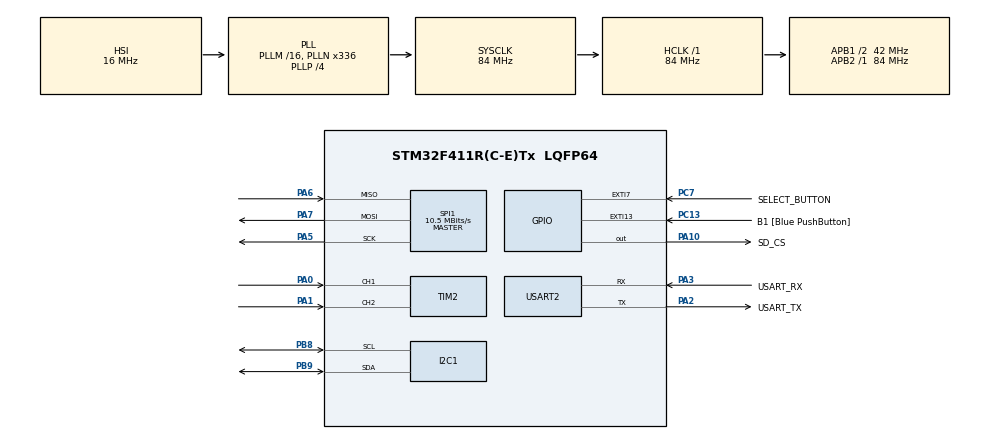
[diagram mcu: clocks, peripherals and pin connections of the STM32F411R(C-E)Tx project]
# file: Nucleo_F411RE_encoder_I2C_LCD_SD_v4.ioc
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Mcu.Family=STM32F4
Mcu.Name=STM32F411R(C-E)Tx
Mcu.Package=LQFP64
NVIC.EXTI9_5_IRQn=true\:0\:0\:false\:false\:true\:true\:true
NVIC.PriorityGroup=NVIC_PRIORITYGROUP_0
NVIC.TIM1_UP_TIM10_IRQn=true\:0\:0\:false\:false\:true\:true\:true
PA0-WKUP.Signal=S_TIM2_CH1_ETR
PA1.Signal=S_TIM2_CH2
PA10.GPIO_Label=SD_CS
PA10.Signal=GPIO_Output
PA13.GPIO_Label=TMS
PA13.Mode=Serial_Wire
PA13.Signal=SYS_JTMS-SWDIO
PA14.GPIO_Label=TCK
PA14.Mode=Serial_Wire
PA14.Signal=SYS_JTCK-SWCLK
PA2.GPIO_Label=USART_TX
PA2.Mode=Asynchronous
PA2.Signal=USART2_TX
PA3.GPIO_Label=USART_RX
PA3.Mode=Asynchronous
PA3.Signal=USART2_RX
PA5.Mode=Full_Duplex_Master
PA5.Signal=SPI1_SCK
PA6.Mode=Full_Duplex_Master
PA6.Signal=SPI1_MISO
PA7.Mode=Full_Duplex_Master
PA7.Signal=SPI1_MOSI
PB3.Signal=SYS_JTDO-SWO
PB8.Mode=I2C
PB8.Signal=I2C1_SCL
PB9.Mode=I2C
PB9.Signal=I2C1_SDA
PC13-ANTI_TAMP.GPIO_Label=B1 [Blue PushButton]
PC13-ANTI_TAMP.GPIO_ModeDefaultEXTI=GPIO_MODE_IT_FALLING
PC13-ANTI_TAMP.Signal=GPXTI13
PC14-OSC32_IN.Mode=LSE-External-Oscillator
PC14-OSC32_IN.Signal=RCC_OSC32_IN
PC15-OSC32_OUT.Mode=LSE-External-Oscillator
PC15-OSC32_OUT.Signal=RCC_OSC32_OUT
PC7.GPIO_Label=SELECT_BUTTON
PC7.Signal=GPXTI7
PH0\ -\ OSC_IN.Mode=HSE-External-Clock-Source
PH0\ -\ OSC_IN.Signal=RCC_OSC_IN
PH1\ -\ OSC_OUT.Mode=HSE-External-Clock-Source
PH1\ -\ OSC_OUT.Signal=RCC_OSC_OUT
ProjectManager.HeapSize=0x200
ProjectManager.StackSize=0x400
ProjectManager.TargetToolchain=STM32CubeIDE
RCC.48MHZClocksFreq_Value=84000000
RCC.AHBFreq_Value=84000000
RCC.APB1CLKDivider=RCC_HCLK_DIV2
RCC.APB1Freq_Value=42000000
RCC.APB1TimFreq_Value=84000000
RCC.APB2Freq_Value=84000000
RCC.APB2TimFreq_Value=84000000
RCC.CortexFreq_Value=84000000
RCC.FLatency-AdvancedSettings=FLASH_LATENCY_2
RCC.HCLKFreq_Value=84000000
RCC.HSE_VALUE=8000000
RCC.HSI_VALUE=16000000
RCC.PLLN=336
RCC.PLLP=RCC_PLLP_DIV4
RCC.SYSCLKFreq_VALUE=84000000
RCC.SYSCLKSource=RCC_SYSCLKSOURCE_PLLCLK
RCC.VCOOutputFreq_Value=336000000
SH.S_TIM2_CH1_ETR.0=TIM2_CH1,Encoder_Interface
SH.S_TIM2_CH2.0=TIM2_CH2,Encoder_Interface
SPI1.BaudRatePrescaler=SPI_BAUDRATEPRESCALER_8
SPI1.CalculateBaudRate=10.5 MBits/s
SPI1.Direction=SPI_DIRECTION_2LINES
SPI1.Mode=SPI_MODE_MASTER
SPI1.VirtualType=VM_MASTER
TIM1.Period=62499
TIM1.Prescaler=63
USART2.VirtualMode=VM_ASYNC
VP_FATFS_VS_Generic.Mode=User_defined
VP_TIM1_VS_ClockSourceINT.Mode=Internal
board=NUCLEO-F411RE

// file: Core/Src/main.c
/* USER CODE BEGIN Header */

//https://deepbluembedded.com/stm32-timer-encoder-mode-stm32-rotary-encoder-interfacing/

// ENCODER
// PA0     ------> TIM2_CH1
// PA1     ------> TIM2_CH2
// In stm32f4xx_hal_msp.c change GPIO_NOPULL to GPIO_PULLUP
// GPIO_InitStruct.Pull = GPIO_PULLUP;

// LCD pinout
// PB9    ------> I2C1_SDA
// PB8    ------> I2C1_SDL
// #define SLAVE_ADDRESS_LCD (0x20<<1)  in i2c_HD44780.c file

/**
 ******************************************************************************
 * @file           : main.c
 * @brief          : Main program body
 ******************************************************************************
 * @attention
 *
 * <h2><center>&copy; Copyright (c) 2020 STMicroelectronics.
 * All rights reserved.</center></h2>
 *
 * This software component is licensed by ST under BSD 3-Clause license,
 * the "License"; You may not use this file except in compliance with the
 * License. You may obtain a copy of the License at:
 *                        opensource.org/licenses/BSD-3-Clause
 *
 ******************************************************************************
 */
/* USER CODE END Header */
#include "main.h"
#include "fatfs.h"

/* USER CODE BEGIN Includes */
#include <stdbool.h>
#include "stm32f4xx_hal.h"
#include <stdio.h>
#include <stdlib.h>
#include <string.h>
#include <i2c_HD44780.h>
#include "emdlist.h"

/* USER CODE END Includes */

/* USER CODE BEGIN PTD */

typedef struct {
	DIR dir;
	//char fname[255];
} item_t;

typedef enum {
	SHIELD_NOT_DETECTED = 0,
	SHIELD_DETECTED
}ShieldStatus;

/* Private define ------------------------------------------------------------*/
#define SD_CARD_NOT_FORMATTED                    0
#define SD_CARD_FILE_NOT_SUPPORTED               1
#define SD_CARD_OPEN_FAIL                        2
#define FATFS_NOT_MOUNTED                        3
#define STRING_SZ                              256
#define ITEMS_MAXSZ                            256

/* USER CODE END PTD */

I2C_HandleTypeDef hi2c1;

SPI_HandleTypeDef hspi1;

TIM_HandleTypeDef htim1;
TIM_HandleTypeDef htim2;

UART_HandleTypeDef huart2;

/* USER CODE BEGIN PV */
bool SELECT_BUTTON_state = true;
bool PROCESS_state = false;

uint8_t BlinkSpeed = 0, str[20];
__IO uint8_t JoystickValue = 0;
char* pDirectoryFiles[MAX_BMP_FILES];
DIR dir;
FILINFO fno;
FIL MyFile;     /* File object */
FATFS SD_FatFs;  /* File system object for SD card logical drive */
char SD_Path[4]; /* SD card logical drive path */
DIR  items[ITEMS_MAXSZ];   /* array of dir struct */
UINT items_sz=0;

DoubleLinkedList dlist;
char buffer[STRING_SZ];
/* USER CODE END PV */

void SystemClock_Config(void);
static void MX_GPIO_Init(void);
static void MX_USART2_UART_Init(void);
static void MX_TIM2_Init(void);
static void MX_I2C1_Init(void);
static void MX_TIM1_Init(void);
static void MX_SPI1_Init(void);
/* USER CODE BEGIN PFP */

FRESULT original_scan_files (char* path);
FRESULT scan_files (char* path, DoubleLinkedList* dlist);
FRESULT read_filename(char* path, DIR dir, char* fname);

/* USER CODE END PFP */

/* USER CODE BEGIN 0 */

// WARNING UART2 is connected to st-link
int _write(int file, char *ptr, int len)
{
	HAL_UART_Transmit(&huart2,(uint8_t *)ptr,len,10);
	return len;
}

/*
int _write(int file, char *ptr, int len)
{
	for (uint8_t i=0; i<len; i++){
		LL_USART_TransmitData8(USART2, ptr[i]);
		while ( !LL_USART_IsActiveFlag_TXE(USART2) )
		{
		}
	}
	return len;
}

int UART_Transmit(USART_TypeDef *UART, uint8_t *ptr, int len){
	for (uint8_t i=0; i<len; i++){
		LL_USART_TransmitData8(UART, ptr[i]);
		while ( !LL_USART_IsActiveFlag_TXE(UART) )
		{
		}
	}
	return 0;
}
 */

bool greater(item_t* e1, item_t* e2){
	char fname1[255], fname2[255];
	char path[2]="/";

	FRESULT res = read_filename(path, e1->dir, fname1);
	if (res != FR_OK) Error_Handler();
	res = read_filename(path, e2->dir, fname2);
	if (res != FR_OK) Error_Handler();

	//printf("%s %s %d\n", fname1, fname2, strncmp(fname1, fname2, sizeof(fname1)));
	if (strncmp(fname1, fname2, sizeof(fname1))>0)
		return true;
	else
		return false;
}

/* USER CODE END 0 */

int main(void)
{

	/* MCU Configuration--------------------------------------------------------*/

	/* Reset of all peripherals, Initializes the Flash interface and the Systick. */
	HAL_Init();

	/* Configure the system clock */
	SystemClock_Config();

	/* USER CODE BEGIN SysInit */
	HAL_Delay(100);
	/* USER CODE END SysInit */

	/* Initialize all configured peripherals */
	MX_GPIO_Init();
	MX_USART2_UART_Init();
	MX_TIM2_Init();
	MX_I2C1_Init();
	MX_TIM1_Init();
	MX_SPI1_Init();
	//MX_FATFS_Init();
	/* USER CODE BEGIN 2 */

	HAL_Delay(2);

	printf("Start\n");

	lcd_init ();

	lcd_clear_display();
	lcd_home();

	HAL_TIM_Encoder_Start(&htim2, TIM_CHANNEL_ALL);

	/*##-1- Link the SD disk I/O driver ########################################*/
	if(FATFS_LinkDriver(&SD_Driver, SD_Path) != FR_OK) Error_Handler();

	/*##-2- Register the file system object to the FatFs module ##############*/
	if(f_mount(&SD_FatFs, (TCHAR const*)SD_Path, 0) != FR_OK) Error_Handler();

	/*##-3- Create a FAT file system (format) on the logical drive #########*/
	emdlist_deinitialize(&dlist);
	char path[2]="/";
	FRESULT res = scan_files(path, &dlist);
	//FRESULT res =original_scan_files(path);

	if (res != FR_OK) Error_Handler();

	printf("==== list of files =======\n");

	{ // list of files
		for (DoubleLinkedListIterator it = emdlist_iterator(&dlist); it.curr !=NULL; emdlist_iterator_next(&it)){
			DoubleLinkedListElement* curr = it.curr;
			item_t *item = curr->data;
			DIR dir = item->dir;
			strncpy(dir.fn, item->dir.fn, sizeof(dir.fn));
			FRESULT res = read_filename(path, dir, buffer);
			if (res != FR_OK) continue;
			//printf("item->dir.dir %p %s %s\n", item->dir.dir, buffer, item->fname);
			printf("item->dir.dir %p %s\n", item->dir.dir, buffer);
		}
	}

	printf("==============================================\n");

	/*##-11- Unlink the SD disk I/O driver ####################################*/
	//FATFS_UnLinkDriver(SD_Path);

	printf("SCROLLING\n");
	DoubleLinkedListIterator iterator = emdlist_iterator(&dlist);
	int32_t cnt0 = (int32_t) __HAL_TIM_GET_COUNTER(&htim2);

	DoubleLinkedListIterator it = iterator;
	lcd_clear_display();
	lcd_home();
	for (int nrow=1; nrow<=4; nrow++){
		DoubleLinkedListElement* curr = it.curr;
		if (!curr) break;
		item_t *item = curr->data;
		DIR dir = item->dir;
		FRESULT res = read_filename(path, dir, buffer);

		snprintf(str, 20, " %s", buffer);
		lcd_locate(nrow, 1);
		lcd_print_string (str);

		if (res == FR_OK) printf("%s\n", buffer);
		emdlist_iterator_next(&it);
	}
	lcd_locate(1, 1);
	lcd_print_string (">");

	/* USER CODE END 2 */

	/* Infinite loop */
	while (1)
	{

		/* USER CODE BEGIN 3 */
		char str[21];
		int32_t cnt = (int32_t) __HAL_TIM_GET_COUNTER(&htim2);
		int offset=cnt-cnt0;
		cnt0=cnt;

		if (offset>0){
			printf("offset %d\n", offset);
			for (int it=0; it<offset; it++){
				printf("next\n");
				DoubleLinkedListIterator backup_iterator = iterator;
				emdlist_iterator_next(&iterator);
				if (iterator.curr == NULL) iterator=backup_iterator;
			}
			printf("iterator.curr %x\n", iterator.curr);

			DoubleLinkedListIterator it = iterator;
			lcd_clear_display();
			lcd_home();
			for (int nrow=1; nrow<=4; nrow++){
				DoubleLinkedListElement* curr = it.curr;
				if (!curr) break;
				item_t *item = curr->data;
				DIR dir = item->dir;
				FRESULT res = read_filename(path, dir, buffer);
				snprintf(str, 20, " %s", buffer);
				lcd_locate(nrow, 1);
				lcd_print_string (str);

				if (res == FR_OK) printf("%s\n", buffer);
				emdlist_iterator_next(&it);
			}
			lcd_locate(1, 1);
			lcd_print_string (">");
		}
		if (offset<0){
			printf("offset %d\n", offset);
			for (int it=0; it>offset; it--){
				printf("prev\n");
				DoubleLinkedListIterator backup_iterator = iterator;
				emdlist_iterator_prev(&iterator);
				if (iterator.curr == NULL) iterator=backup_iterator;
			}
			printf("iterator.curr %x\n", iterator.curr);

			DoubleLinkedListIterator it = iterator;
			lcd_clear_display();
			lcd_home();
			for (int nrow=1; nrow<=4; nrow++){
				DoubleLinkedListElement* curr = it.curr;
				if (!curr) break;
				item_t *item = curr->data;
				DIR dir = item->dir;
				FRESULT res = read_filename(path, dir, buffer);

				snprintf(str, 20, " %s", buffer);
				lcd_locate(nrow, 1);
				lcd_print_string (str);

				if (res == FR_OK) printf("%s\n", buffer);
				emdlist_iterator_next(&it);
			}
			lcd_locate(1, 1);
			lcd_print_string (">");
		}

		if ((SELECT_BUTTON_state == true) && (PROCESS_state == true)) {
			DoubleLinkedListIterator it = iterator;
			//lcd_clear_display();
			//lcd_home();
			DoubleLinkedListElement* curr = it.curr;
			if (!curr) Error_Handler();
			item_t *item = curr->data;
			DIR dir = item->dir;
			FRESULT res = read_filename(path, dir, buffer);
			if (res != FR_OK) Error_Handler();

			snprintf(str, 20, "*%s", buffer);
			lcd_locate(1, 1);
			lcd_print_string (str);
			PROCESS_state = false;

			printf("open file %s\n", buffer);
			if(f_open(&MyFile, buffer, FA_READ) != FR_OK)
			{
				/* file Open for read Error */
				//Error_Handler();
				printf("can't open %s\n ... next one", buffer);
				continue;
			}

			//     DO NOT FORGET TO #define	_USE_STRFUNC	1  in ffconf.h
			while (f_gets(buffer, STRING_SZ, &MyFile) ){
				/* writing content to stdout */
				printf("%s", buffer);
			}
			f_close(&MyFile);
		}
	}
	/* USER CODE END 3 */
}

void SystemClock_Config(void)
{
	RCC_OscInitTypeDef RCC_OscInitStruct = {0};
	RCC_ClkInitTypeDef RCC_ClkInitStruct = {0};

	/** Configure the main internal regulator output voltage
	 */
	__HAL_RCC_PWR_CLK_ENABLE();
	__HAL_PWR_VOLTAGESCALING_CONFIG(PWR_REGULATOR_VOLTAGE_SCALE1);
	/** Initializes the RCC Oscillators according to the specified parameters
	 * in the RCC_OscInitTypeDef structure.
	 */
	RCC_OscInitStruct.OscillatorType = RCC_OSCILLATORTYPE_HSI;
	RCC_OscInitStruct.HSIState = RCC_HSI_ON;
	RCC_OscInitStruct.HSICalibrationValue = RCC_HSICALIBRATION_DEFAULT;
	RCC_OscInitStruct.PLL.PLLState = RCC_PLL_ON;
	RCC_OscInitStruct.PLL.PLLSource = RCC_PLLSOURCE_HSI;
	RCC_OscInitStruct.PLL.PLLM = 16;
	RCC_OscInitStruct.PLL.PLLN = 336;
	RCC_OscInitStruct.PLL.PLLP = RCC_PLLP_DIV4;
	RCC_OscInitStruct.PLL.PLLQ = 4;
	if (HAL_RCC_OscConfig(&RCC_OscInitStruct) != HAL_OK)
	{
		Error_Handler();
	}
	/** Initializes the CPU, AHB and APB buses clocks
	 */
	RCC_ClkInitStruct.ClockType = RCC_CLOCKTYPE_HCLK|RCC_CLOCKTYPE_SYSCLK
			|RCC_CLOCKTYPE_PCLK1|RCC_CLOCKTYPE_PCLK2;
	RCC_ClkInitStruct.SYSCLKSource = RCC_SYSCLKSOURCE_PLLCLK;
	RCC_ClkInitStruct.AHBCLKDivider = RCC_SYSCLK_DIV1;
	RCC_ClkInitStruct.APB1CLKDivider = RCC_HCLK_DIV2;
	RCC_ClkInitStruct.APB2CLKDivider = RCC_HCLK_DIV1;

	if (HAL_RCC_ClockConfig(&RCC_ClkInitStruct, FLASH_LATENCY_2) != HAL_OK)
	{
		Error_Handler();
	}
}

static void MX_I2C1_Init(void)
{

	hi2c1.Instance = I2C1;
	hi2c1.Init.ClockSpeed = 100000;
	hi2c1.Init.DutyCycle = I2C_DUTYCYCLE_2;
	hi2c1.Init.OwnAddress1 = 0;
	hi2c1.Init.AddressingMode = I2C_ADDRESSINGMODE_7BIT;
	hi2c1.Init.DualAddressMode = I2C_DUALADDRESS_DISABLE;
	hi2c1.Init.OwnAddress2 = 0;
	hi2c1.Init.GeneralCallMode = I2C_GENERALCALL_DISABLE;
	hi2c1.Init.NoStretchMode = I2C_NOSTRETCH_DISABLE;
	if (HAL_I2C_Init(&hi2c1) != HAL_OK)
	{
		Error_Handler();
	}

}

static void MX_SPI1_Init(void)
{

	/* SPI1 parameter configuration*/
	hspi1.Instance = SPI1;
	hspi1.Init.Mode = SPI_MODE_MASTER;
	hspi1.Init.Direction = SPI_DIRECTION_2LINES;
	hspi1.Init.DataSize = SPI_DATASIZE_8BIT;
	hspi1.Init.CLKPolarity = SPI_POLARITY_LOW;
	hspi1.Init.CLKPhase = SPI_PHASE_1EDGE;
	hspi1.Init.NSS = SPI_NSS_SOFT;
	hspi1.Init.BaudRatePrescaler = SPI_BAUDRATEPRESCALER_8;
	hspi1.Init.FirstBit = SPI_FIRSTBIT_MSB;
	hspi1.Init.TIMode = SPI_TIMODE_DISABLE;
	hspi1.Init.CRCCalculation = SPI_CRCCALCULATION_DISABLE;
	hspi1.Init.CRCPolynomial = 10;
	if (HAL_SPI_Init(&hspi1) != HAL_OK)
	{
		Error_Handler();
	}

}

static void MX_TIM1_Init(void)
{

	TIM_ClockConfigTypeDef sClockSourceConfig = {0};
	TIM_MasterConfigTypeDef sMasterConfig = {0};

	htim1.Instance = TIM1;
	htim1.Init.Prescaler = 63;
	htim1.Init.CounterMode = TIM_COUNTERMODE_UP;
	htim1.Init.Period = 62499;
	htim1.Init.ClockDivision = TIM_CLOCKDIVISION_DIV1;
	htim1.Init.RepetitionCounter = 0;
	htim1.Init.AutoReloadPreload = TIM_AUTORELOAD_PRELOAD_DISABLE;
	if (HAL_TIM_Base_Init(&htim1) != HAL_OK)
	{
		Error_Handler();
	}
	sClockSourceConfig.ClockSource = TIM_CLOCKSOURCE_INTERNAL;
	if (HAL_TIM_ConfigClockSource(&htim1, &sClockSourceConfig) != HAL_OK)
	{
		Error_Handler();
	}
	sMasterConfig.MasterOutputTrigger = TIM_TRGO_RESET;
	sMasterConfig.MasterSlaveMode = TIM_MASTERSLAVEMODE_DISABLE;
	if (HAL_TIMEx_MasterConfigSynchronization(&htim1, &sMasterConfig) != HAL_OK)
	{
		Error_Handler();
	}

}

static void MX_TIM2_Init(void)
{

	TIM_Encoder_InitTypeDef sConfig = {0};
	TIM_MasterConfigTypeDef sMasterConfig = {0};

	htim2.Instance = TIM2;
	htim2.Init.Prescaler = 0;
	htim2.Init.CounterMode = TIM_COUNTERMODE_UP;
	htim2.Init.Period = 4294967295;
	htim2.Init.ClockDivision = TIM_CLOCKDIVISION_DIV1;
	htim2.Init.AutoReloadPreload = TIM_AUTORELOAD_PRELOAD_DISABLE;
	sConfig.EncoderMode = TIM_ENCODERMODE_TI1;
	sConfig.IC1Polarity = TIM_ICPOLARITY_RISING;
	sConfig.IC1Selection = TIM_ICSELECTION_DIRECTTI;
	sConfig.IC1Prescaler = TIM_ICPSC_DIV1;
	sConfig.IC1Filter = 0;
	sConfig.IC2Polarity = TIM_ICPOLARITY_RISING;
	sConfig.IC2Selection = TIM_ICSELECTION_DIRECTTI;
	sConfig.IC2Prescaler = TIM_ICPSC_DIV1;
	sConfig.IC2Filter = 0;
	if (HAL_TIM_Encoder_Init(&htim2, &sConfig) != HAL_OK)
	{
		Error_Handler();
	}
	sMasterConfig.MasterOutputTrigger = TIM_TRGO_RESET;
	sMasterConfig.MasterSlaveMode = TIM_MASTERSLAVEMODE_DISABLE;
	if (HAL_TIMEx_MasterConfigSynchronization(&htim2, &sMasterConfig) != HAL_OK)
	{
		Error_Handler();
	}

}

static void MX_USART2_UART_Init(void)
{

	huart2.Instance = USART2;
	huart2.Init.BaudRate = 115200;
	huart2.Init.WordLength = UART_WORDLENGTH_8B;
	huart2.Init.StopBits = UART_STOPBITS_1;
	huart2.Init.Parity = UART_PARITY_NONE;
	huart2.Init.Mode = UART_MODE_TX_RX;
	huart2.Init.HwFlowCtl = UART_HWCONTROL_NONE;
	huart2.Init.OverSampling = UART_OVERSAMPLING_16;
	if (HAL_UART_Init(&huart2) != HAL_OK)
	{
		Error_Handler();
	}

}

static void MX_GPIO_Init(void)
{
	GPIO_InitTypeDef GPIO_InitStruct = {0};

	/* GPIO Ports Clock Enable */
	__HAL_RCC_GPIOC_CLK_ENABLE();
	__HAL_RCC_GPIOH_CLK_ENABLE();
	__HAL_RCC_GPIOA_CLK_ENABLE();
	__HAL_RCC_GPIOB_CLK_ENABLE();

	/*Configure GPIO pin Output Level */
	HAL_GPIO_WritePin(SD_CS_GPIO_Port, SD_CS_Pin, GPIO_PIN_RESET);

	/*Configure GPIO pin : B1_Pin */
	GPIO_InitStruct.Pin = B1_Pin;
	GPIO_InitStruct.Mode = GPIO_MODE_IT_FALLING;
	GPIO_InitStruct.Pull = GPIO_NOPULL;
	HAL_GPIO_Init(B1_GPIO_Port, &GPIO_InitStruct);

	/*Configure GPIO pin : SELECT_BUTTON_Pin */
	GPIO_InitStruct.Pin = SELECT_BUTTON_Pin;
	GPIO_InitStruct.Mode = GPIO_MODE_IT_RISING;
	GPIO_InitStruct.Pull = GPIO_NOPULL;
	HAL_GPIO_Init(SELECT_BUTTON_GPIO_Port, &GPIO_InitStruct);

	/*Configure GPIO pin : SD_CS_Pin */
	GPIO_InitStruct.Pin = SD_CS_Pin;
	GPIO_InitStruct.Mode = GPIO_MODE_OUTPUT_PP;
	GPIO_InitStruct.Pull = GPIO_NOPULL;
	GPIO_InitStruct.Speed = GPIO_SPEED_FREQ_LOW;
	HAL_GPIO_Init(SD_CS_GPIO_Port, &GPIO_InitStruct);

	/* EXTI interrupt init*/
	HAL_NVIC_SetPriority(EXTI9_5_IRQn, 0, 0);
	HAL_NVIC_EnableIRQ(EXTI9_5_IRQn);

}

/* USER CODE BEGIN 4 */

void HAL_GPIO_EXTI_Callback(uint16_t GPIO_Pin)
{
	if(GPIO_Pin == SELECT_BUTTON_Pin && SELECT_BUTTON_state == true){
		HAL_TIM_Base_Start_IT(&htim1);
		printf("GPIO interrupt TIM1 started\n");
		SELECT_BUTTON_state = false;
	}
	else{
		__NOP();
	}
}

void HAL_TIM_PeriodElapsedCallback(TIM_HandleTypeDef *htim)
{
	/* NOTE : This function should not be modified, when the callback is needed,
            the HAL_TIM_PeriodElapsedCallback could be implemented in the user file
	 */
	if (htim->Instance==TIM1){
		if(HAL_GPIO_ReadPin(SELECT_BUTTON_GPIO_Port, SELECT_BUTTON_Pin) == GPIO_PIN_RESET){
			SELECT_BUTTON_state = true;
			PROCESS_state = true;
			printf("SELECT_BUTTON pressed %lu\n", __HAL_TIM_GET_COUNTER(&htim2));
			HAL_TIM_Base_Stop_IT(&htim1);
		}
	}
}

FRESULT scan_files (char* path, DoubleLinkedList* dlist)  /* Start node to be scanned (***also used as work area***) */
{
	FRESULT res;
	DIR dir;
    UINT i;
	static FILINFO fno;
	char buffer[256];

	res = f_opendir(&dir, path);                       /* Open the directory */
	if (res == FR_OK) {
		for (;;) {
			res = f_readdir(&dir, &fno);                   /* Read a directory item */
			if (res != FR_OK || fno.fname[0] == 0) break;  /* Break on error or end of dir */

			if (fno.fattrib & AM_DIR) {                    /* It is a directory */
				i = strlen(path);
				sprintf(&path[i], "/%s", fno.fname);
				res = scan_files(path, dlist);     /* Enter the directory */
				if (res != FR_OK) break;
				path[i] = 0;
			} else
			{                                       /* It is a file. */
				FRESULT res = read_filename(path, dir, buffer);
				if (res != FR_OK) continue;

				snprintf(buffer, sizeof(buffer), "%s/%s\n", path, fno.fname);
				item_t *item = (item_t*) malloc(sizeof(item_t));
				if (!item) Error_Handler();
				item->dir = dir;
				strncpy(item->dir.fn, dir.fn, sizeof(dir.fn)); // fn string should be copied too
				printf("item->dir.dir %p\n", item->dir.dir);

				/* insertion with sort */
				emdlist_insert(dlist, (void*) item,  (cmp_fun_ptr)greater);
				snprintf(buffer, sizeof(buffer), "DIR.dir pointer %p\n", dir.dir);
				printf("%s\n", buffer);

			}
		}
		f_closedir(&dir);
	}

	return res;
}

FRESULT read_filename(char* path, DIR target_dir, char* fname)        /* Start node to be scanned (***also used as work area***) */
{
	FRESULT res;
	DIR dir;
	static FILINFO fno;

	res = f_opendir(&dir, path);                       /* Open the directory */
	if (res == FR_OK) {
		res = f_readdir(&target_dir, &fno);                   /* Read a directory item */

		if (res != FR_OK || fno.fname[0] == 0) {
			fname[0]=0;
			f_closedir(&dir);
			return FR_INT_ERR;  /* Break on error or end of dir */
		}
		if (fno.fattrib & AM_DIR) {
			fname[0]=0;
			f_closedir(&dir);
			return FR_INT_ERR;
		}

		//snprintf(fname, STRING_SZ, "%s/%s", path, fno.fname);
		snprintf(fname, STRING_SZ, "%s", fno.fname);
	}
	f_closedir(&dir);

	return res;
}

void print(DoubleLinkedListElement* candidate){
	DIR *e=(DIR*) candidate->data;
	printf("%p prev %p next %p", candidate, candidate->prev, candidate->next);
	if (e) printf(" element %p --> %p", e, e->dir);
	printf("\n");
}

/* Example from
 * http://elm-chan.org/fsw/ff/doc/readdir.html
 */
FRESULT original_scan_files (char* path)
/* Start node to be scanned (***also used as work area***) */
{
    FRESULT res;
    DIR dir;
    UINT i;
    static FILINFO fno;

    res = f_opendir(&dir, path);                       /* Open the directory */
    if (res == FR_OK) {
        for (;;) {
            res = f_readdir(&dir, &fno);                   /* Read a directory item */
            if (res != FR_OK || fno.fname[0] == 0) break;  /* Break on error or end of dir */
            if (fno.fattrib & AM_DIR) {                    /* It is a directory */
                i = strlen(path);
                sprintf(&path[i], "/%s", fno.fname);
                res = original_scan_files(path);                    /* Enter the directory */
                if (res != FR_OK) break;
                path[i] = 0;
            } else {                                       /* It is a file. */
                printf("%s/%s\n", path, fno.fname);
            }
        }
        f_closedir(&dir);
    }

    return res;
}
/* USER CODE END 4 */

void Error_Handler(void)
{
}

/************************ (C) COPYRIGHT STMicroelectronics *****END OF FILE****/
